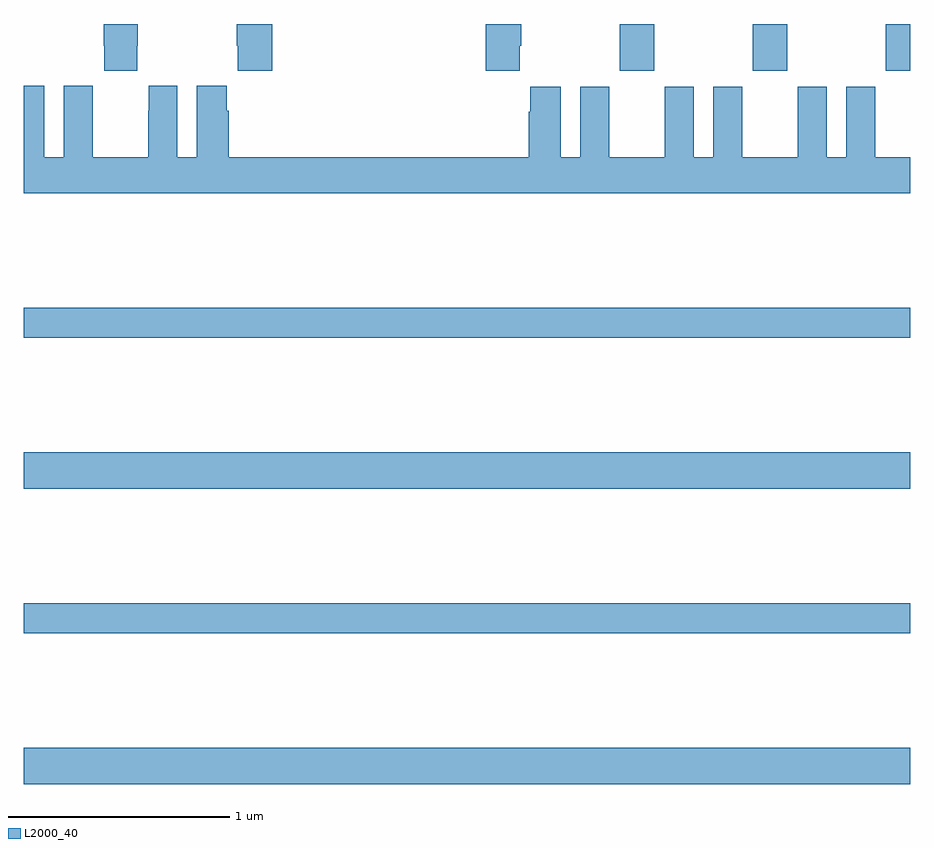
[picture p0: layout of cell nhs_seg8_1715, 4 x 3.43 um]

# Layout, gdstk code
import gdstk
lib = gdstk.Library(unit=1e-6, precision=1e-09)
def R(c, l, rs):  # rectangles x0, y0, x1, y1
    for r in rs: c.add(gdstk.rectangle(r[:2], r[2:], *l))
def P(c, l, *ps):  # polygons
    for p in ps: c.add(gdstk.Polygon(p, *l))
L2000_40 = (2000, 40)

nhs_seg8_1715 = lib.new_cell('nhs_seg8_1715')
R(nhs_seg8_1715, L2000_40, [(219,1144.472,223,1144.636), (219,1145.152,223,1145.288), (219,1145.804,223,1145.968), (219,1146.484,223,1146.62), (221.689,1147.689,221.844,1147.9), (222.289,1147.689,222.444,1147.9), (222.889,1147.689,223,1147.9)])
P(nhs_seg8_1715, L2000_40, [(219.513,1147.801),(219.516,1147.801),(219.516,1147.9),(219.361,1147.9),(219.361,1147.801),(219.363,1147.801),(219.363,1147.689),(219.513,1147.689)],
  [(221.239,1147.801),(221.244,1147.801),(221.244,1147.9),(221.084,1147.9),(221.084,1147.689),(221.239,1147.689)],
  [(220.121,1147.9),(219.961,1147.9),(219.961,1147.801),(219.967,1147.801),(219.967,1147.689),(220.121,1147.689)],
  [(223,1147.3),(222.841,1147.3),(222.841,1147.618),(222.71,1147.618),(222.71,1147.3),(222.622,1147.3),(222.622,1147.618),(222.491,1147.618),(222.491,1147.3),(222.241,1147.3),(222.241,1147.618),(222.11,1147.618),(222.11,1147.3),(222.022,1147.3),(222.022,1147.618),(221.891,1147.618),(221.891,1147.3),(221.641,1147.3),(221.641,1147.618),(221.51,1147.618),(221.51,1147.3),(221.422,1147.3),(221.422,1147.618),(221.285,1147.618),(221.285,1147.505),(221.279,1147.505),(221.279,1147.3),(219.926,1147.3),(219.926,1147.508),(219.916,1147.508),(219.916,1147.621),(219.782,1147.621),(219.782,1147.3),(219.694,1147.3),(219.694,1147.621),(219.564,1147.621),(219.564,1147.508),(219.563,1147.508),(219.563,1147.3),(219.313,1147.3),(219.313,1147.508),(219.312,1147.508),(219.312,1147.621),(219.182,1147.621),(219.182,1147.3),(219.094,1147.3),(219.094,1147.621),(219,1147.621),(219,1147.136),(223,1147.136)])

lib.write_gds('nhs_seg8_1715.gds')
